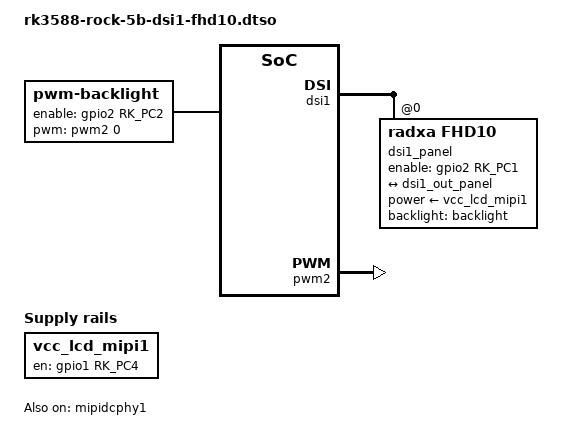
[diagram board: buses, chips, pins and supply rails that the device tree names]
// SPDX-License-Identifier: (GPL-2.0+ OR MIT)
/*
 * DT-overlay to run the PCIe3_4L Dual Mode controller in Endpoint mode
 * in the SRNS (Separate Reference Clock No Spread) configuration.
 *
 * NOTE: If using a setup with two ROCK 5B:s, with one board running in
 * RC mode and the other board running in EP mode, see also the device
 * tree overlay: rk3588-rock-5b-pcie-srns.dtso.
 */

/dts-v1/;
/plugin/;

#include <dt-bindings/gpio/gpio.h>
//#include <dt-bindings/interrupt-controller/irq.h>
//#include <dt-bindings/leds/common.h>
#include <dt-bindings/pinctrl/rockchip.h>
#include <dt-bindings/soc/rockchip,vop2.h>

&{/} {
	backlight: backlight {
		compatible = "pwm-backlight";
		pwms = <&pwm2 0 25000 0>;
		enable-gpios = <&gpio2 RK_PC2 GPIO_ACTIVE_HIGH>;
		pinctrl-names = "default";
		pinctrl-0 = <&dsi1_backlight_en>;
	};

	vcc_lcd_mipi1: regulator-vcc-lcd-mipi1 {
		compatible = "regulator-fixed";
		gpio = <&gpio1 RK_PC4 GPIO_ACTIVE_HIGH>;
		enable-active-high;
		regulator-name = "vcc_lcd_mipi1";

		regulator-state-mem {
			regulator-off-in-suspend;
		};
	};
};

&dsi1 {
	#address-cells = <1>;
	#size-cells = <0>;
	status = "okay";

	dsi1_panel: panel@0 {
		compatible = "radxa,fhd10";
		reg = <0>;
		backlight = <&backlight>;
		enable-gpios = <&gpio2 RK_PC1 GPIO_ACTIVE_HIGH>;
		pinctrl-names = "default";
		pinctrl-0 = <&dsi1_lcd_rst_gpio>;
		power-supply = <&vcc_lcd_mipi1>;

		port {
			panel_in_dsi1: endpoint {
				remote-endpoint = <&dsi1_out_panel>;
			};
		};
	};
};

&dsi1_in {
	dsi1_in_vp3: endpoint {
		remote-endpoint = <&vp3_out_dsi1>;
	};
};

&dsi1_out {
	dsi1_out_panel: endpoint {
		remote-endpoint = <&panel_in_dsi1>;
	};
};

&mipidcphy1 {
	status = "okay";
};

&pinctrl {
	dsi1-lcd {
		dsi1_lcd_rst_gpio: dsi1-lcd-rst-gpio {
			rockchip,pins = <2 RK_PC1 RK_FUNC_GPIO &pcfg_pull_up>;
		};

		dsi1_backlight_en: dsi1-backlight-en {
			rockchip,pins = <2 RK_PC2 RK_FUNC_GPIO &pcfg_pull_up>;
		};
	};
};

&pwm2 {
	pinctrl-0 = <&pwm2m2_pins>;
	pinctrl-names = "default";
	status = "okay";
};

&vp3 {
	#address-cells = <1>;
	#size-cells = <0>;

	vp3_out_dsi1: endpoint@ROCKCHIP_VOP2_EP_MIPI1 {
		reg = <ROCKCHIP_VOP2_EP_MIPI1>;
		remote-endpoint = <&dsi1_in_vp3>;
	};
};
